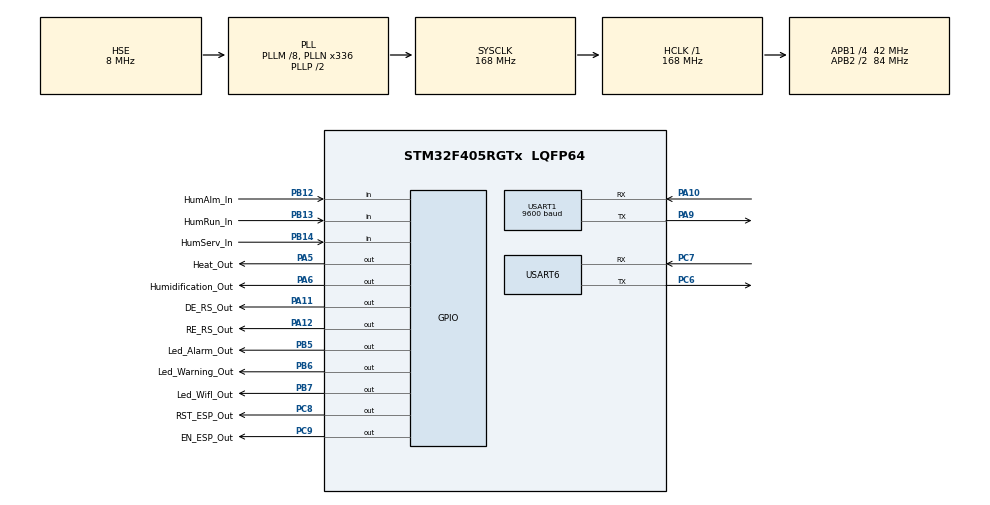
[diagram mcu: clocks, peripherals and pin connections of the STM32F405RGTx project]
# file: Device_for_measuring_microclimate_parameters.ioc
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Dma.Request0=USART6_TX
Dma.USART6_TX.0.Direction=DMA_MEMORY_TO_PERIPH
Dma.USART6_TX.0.FIFOMode=DMA_FIFOMODE_DISABLE
Dma.USART6_TX.0.Instance=DMA2_Stream6
Dma.USART6_TX.0.MemDataAlignment=DMA_MDATAALIGN_BYTE
Dma.USART6_TX.0.MemInc=DMA_MINC_ENABLE
Dma.USART6_TX.0.Mode=DMA_NORMAL
Dma.USART6_TX.0.PeriphDataAlignment=DMA_PDATAALIGN_BYTE
Dma.USART6_TX.0.PeriphInc=DMA_PINC_DISABLE
Dma.USART6_TX.0.Priority=DMA_PRIORITY_LOW
FREERTOS.Tasks01=readRS485,24,128,StartReadRS485,Default,NULL,Dynamic,NULL,NULL;controlPIDTemp,8,128,StartControlPIDTemp,Default,NULL,Dynamic,NULL,NULL;controlPIDHum,8,128,StartControlPIDHum,Default,NULL,Dynamic,NULL,NULL;exchangeATComma,8,128,StartExchangeATCommand,Default,NULL,Dynamic,NULL,NULL;webInterface,8,128,StartWebInterface,Default,NULL,Dynamic,NULL,NULL
FREERTOS.configUSE_NEWLIB_REENTRANT=1
IWDG.Prescaler=IWDG_PRESCALER_32
Mcu.Family=STM32F4
Mcu.Name=STM32F405RGTx
Mcu.Package=LQFP64
NVIC.DMA2_Stream6_IRQn=true\:5\:0\:false\:false\:true\:true\:false\:true\:true
NVIC.PriorityGroup=NVIC_PRIORITYGROUP_4
NVIC.TIM1_UP_TIM10_IRQn=true\:15\:0\:false\:false\:true\:false\:false\:true\:true
NVIC.TimeBase=TIM1_UP_TIM10_IRQn
NVIC.TimeBaseIP=TIM1
PA10.Mode=Asynchronous
PA10.Signal=USART1_RX
PA11.GPIO_Label=DE_RS_Out
PA11.Signal=GPIO_Output
PA12.GPIO_Label=RE_RS_Out
PA12.Signal=GPIO_Output
PA5.GPIO_Label=Heat_Out
PA5.Signal=GPIO_Output
PA6.GPIO_Label=Humidification_Out
PA6.Signal=GPIO_Output
PA9.Mode=Asynchronous
PA9.Signal=USART1_TX
PB12.GPIO_Label=HumAlm_In
PB12.Signal=GPIO_Input
PB13.GPIO_Label=HumRun_In
PB13.Signal=GPIO_Input
PB14.GPIO_Label=HumServ_In
PB14.Signal=GPIO_Input
PB5.GPIO_Label=Led_Alarm_Out
PB5.Signal=GPIO_Output
PB6.GPIO_Label=Led_Warning_Out
PB6.Signal=GPIO_Output
PB7.GPIO_Label=Led_WifI_Out
PB7.Signal=GPIO_Output
PC14-OSC32_IN.Mode=LSE-External-Oscillator
PC14-OSC32_IN.Signal=RCC_OSC32_IN
PC15-OSC32_OUT.Mode=LSE-External-Oscillator
PC15-OSC32_OUT.Signal=RCC_OSC32_OUT
PC6.Mode=Asynchronous
PC6.Signal=USART6_TX
PC7.Mode=Asynchronous
PC7.Signal=USART6_RX
PC8.GPIO_Label=RST_ESP_Out
PC8.PinState=GPIO_PIN_SET
PC8.Signal=GPIO_Output
PC9.GPIO_Label=EN_ESP_Out
PC9.PinState=GPIO_PIN_SET
PC9.Signal=GPIO_Output
PH0-OSC_IN.Mode=HSE-External-Oscillator
PH0-OSC_IN.Signal=RCC_OSC_IN
PH1-OSC_OUT.Mode=HSE-External-Oscillator
PH1-OSC_OUT.Signal=RCC_OSC_OUT
ProjectManager.HeapSize=0x200
ProjectManager.StackSize=0x400
ProjectManager.TargetToolchain=STM32CubeIDE
RCC.48MHZClocksFreq_Value=84000000
RCC.AHBFreq_Value=168000000
RCC.APB1CLKDivider=RCC_HCLK_DIV4
RCC.APB1Freq_Value=42000000
RCC.APB1TimFreq_Value=84000000
RCC.APB2CLKDivider=RCC_HCLK_DIV2
RCC.APB2Freq_Value=84000000
RCC.APB2TimFreq_Value=168000000
RCC.CortexFreq_Value=168000000
RCC.HCLKFreq_Value=168000000
RCC.HSE_VALUE=8000000
RCC.HSI_VALUE=16000000
RCC.PLLM=8
RCC.PLLN=336
RCC.PLLSourceVirtual=RCC_PLLSOURCE_HSE
RCC.RCC_RTC_Clock_Source=RCC_RTCCLKSOURCE_LSE
RCC.RCC_RTC_Clock_SourceVirtual=RCC_RTCCLKSOURCE_LSE
RCC.SYSCLKFreq_VALUE=168000000
RCC.SYSCLKSource=RCC_SYSCLKSOURCE_PLLCLK
RCC.VCOOutputFreq_Value=336000000
USART1.BaudRate=9600
USART1.VirtualMode=VM_ASYNC
USART6.VirtualMode=VM_ASYNC
VP_FREERTOS_VS_CMSIS_V2.Mode=CMSIS_V2
VP_IWDG_VS_IWDG.Mode=IWDG_Activate
VP_RTC_VS_RTC_Activate.Mode=RTC_Enabled
VP_RTC_VS_RTC_Calendar.Mode=RTC_Calendar
VP_SYS_VS_tim1.Mode=TIM1
board=custom

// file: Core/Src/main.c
/* USER CODE BEGIN Header */
/**
  ******************************************************************************
  * @file           : main.c
  * @brief          : Main program body
  ******************************************************************************
  * @attention
  *
  * Copyright (c) 2026 STMicroelectronics.
  * All rights reserved.
  *
  * This software is licensed under terms that can be found in the LICENSE file
  * in the root directory of this software component.
  * If no LICENSE file comes with this software, it is provided AS-IS.
  *
  ******************************************************************************
  */
/* USER CODE END Header */
#include "main.h"
#include "cmsis_os.h"

/* USER CODE BEGIN Includes */
#include "pid.h"  // Для ПИД регуляторов
/* USER CODE END Includes */

/* USER CODE BEGIN PTD */
typedef struct {
    float temperature;
    float humidity;
    uint32_t timestamp;
} SensorData;

typedef struct {
    float temperature_setpoint;
    float humidity_setpoint;
    uint8_t auto_mode;
    uint8_t heating_enabled;
    uint8_t humidification_enabled;
} SystemSettings;

typedef enum {
    HUM_STATUS_OK = 0,
    HUM_STATUS_ALARM,
    HUM_STATUS_RUNNING,
    HUM_STATUS_SERVICE
} HumidifierStatus;
/* USER CODE END PTD */

/* USER CODE BEGIN PD */
#define HISTORY_SIZE 48
#define MODBUS_ADDRESS 0x01
#define MODBUS_READ_HOLDING_REG 0x03
#define TEMP_REG_ADDR 0x0001
#define HUM_REG_ADDR 0x0002
#define MODBUS_CRC16_POLYNOMIAL 0xA001

// Константы точности датчика
#define TEMP_ACCURACY 0.5f
#define HUM_ACCURACY 3.0f

// Диапазоны измерений
#define TEMP_MIN -10.0f
#define TEMP_MAX 60.0f
#define HUM_MIN 0.0f
#define HUM_MAX 100.0f

// ПИД параметры для температуры
#define TEMP_KP 2.0f
#define TEMP_KI 0.05f
#define TEMP_KD 1.0f

// ПИД параметры для влажности
#define HUM_KP 1.5f
#define HUM_KI 0.03f
#define HUM_KD 0.8f

// Гистерезис для релейного управления
#define TEMP_HYSTERESIS 0.5f
#define HUM_HYSTERESIS 2.0f

// Максимальное время ожидания ответа от датчика (мс)
#define RS485_TIMEOUT 100
/* USER CODE END PD */

/* USER CODE BEGIN PM */
#define MIN(a,b) ((a)<(b)?(a):(b))
#define MAX(a,b) ((a)>(b)?(a):(b))
#define CLAMP(x, min, max) ((x) < (min) ? (min) : ((x) > (max) ? (max) : (x)))
/* USER CODE END PM */

IWDG_HandleTypeDef hiwdg;

RTC_HandleTypeDef hrtc;

UART_HandleTypeDef huart1;
UART_HandleTypeDef huart6;
DMA_HandleTypeDef hdma_usart6_tx;

/* Definitions for readRS485 */
osThreadId_t readRS485Handle;
const osThreadAttr_t readRS485_attributes = {
  .name = "readRS485",
  .stack_size = 128 * 4,
  .priority = (osPriority_t) osPriorityNormal,
};
/* Definitions for controlPIDTemp */
osThreadId_t controlPIDTempHandle;
const osThreadAttr_t controlPIDTemp_attributes = {
  .name = "controlPIDTemp",
  .stack_size = 128 * 4,
  .priority = (osPriority_t) osPriorityLow,
};
/* Definitions for controlPIDHum */
osThreadId_t controlPIDHumHandle;
const osThreadAttr_t controlPIDHum_attributes = {
  .name = "controlPIDHum",
  .stack_size = 128 * 4,
  .priority = (osPriority_t) osPriorityLow,
};
/* Definitions for exchangeATComma */
osThreadId_t exchangeATCommaHandle;
const osThreadAttr_t exchangeATComma_attributes = {
  .name = "exchangeATComma",
  .stack_size = 128 * 4,
  .priority = (osPriority_t) osPriorityLow,
};
/* Definitions for webInterface */
osThreadId_t webInterfaceHandle;
const osThreadAttr_t webInterface_attributes = {
  .name = "webInterface",
  .stack_size = 128 * 4,
  .priority = (osPriority_t) osPriorityLow,
};
/* USER CODE BEGIN PV */
// Глобальные переменные системы
SensorData current_sensor_data = {0};
SensorData history_data[HISTORY_SIZE];
uint8_t history_index = 0;
SystemSettings system_settings = {
    .temperature_setpoint = 22.0f,
    .humidity_setpoint = 50.0f,
    .auto_mode = 1,  // Автоматический режим по умолчанию
    .heating_enabled = 0,
    .humidification_enabled = 0
};

// ПИД регуляторы
PID_HandleTypeDef pid_temp;
PID_HandleTypeDef pid_hum;

// Очереди для межпоточного взаимодействия
osMessageQueueId_t sensor_data_queue;
osMessageQueueId_t settings_queue;
osMessageQueueId_t web_command_queue;

// Семафоры и мьютексы
osMutexId_t sensor_data_mutex;
osMutexId_t settings_mutex;
osMutexId_t history_mutex;

// Флаги состояния
volatile uint8_t heating_active = 0;
volatile uint8_t humidification_active = 0;
volatile uint8_t wifi_ap_active = 0;
volatile uint8_t humidifier_alarm = 0;
volatile uint8_t humidifier_running = 0;
volatile uint8_t humidifier_service = 0;

// Буферы для связи
uint8_t rs485_rx_buffer[64];
uint8_t rs485_tx_buffer[64];
uint8_t esp_rx_buffer[256];
uint8_t esp_tx_buffer[512];
uint8_t modbus_frame[8];

// HTML страница веб-интерфейса
const char* html_page =
"<!DOCTYPE html>"
"<html lang=\"ru\">"
"<head>"
"<meta charset=\"UTF-8\">"
"<meta name=\"viewport\" content=\"width=device-width, initial-scale=1.0, maximum-scale=1.0, user-scalable=no\">"
"<title>Управление микроклиматом</title>"
"<style>"
"* { margin: 0; padding: 0; box-sizing: border-box; font-family: 'Segoe UI', Tahoma, Geneva, Verdana, sans-serif; }"
"body { background: linear-gradient(135deg, #1a2980, #26d0ce); color: #fff; min-height: 100vh; padding-bottom: 20px; }"
".container { max-width: 500px; margin: 0 auto; padding: 15px; }"
".navbar { display: flex; justify-content: space-between; margin-bottom: 20px; flex-wrap: wrap; }"
".nav-button { background-color: #0d1b48; color: white; border: none; width: 23%; height: 80px; margin-bottom: 10px; border-radius: 10px; display: flex; flex-direction: column; align-items: center; justify-content: center; font-weight: bold; cursor: pointer; transition: all 0.3s ease; box-shadow: 0 4px 6px rgba(0, 0, 0, 0.2); text-shadow: 1px 1px 2px rgba(0, 0, 0, 0.8); -webkit-text-stroke: 0.3px #000; }"
".nav-button:hover { background-color: #1a2e6b; transform: translateY(-2px); }"
".nav-button.active { background-color: #2d46b9; box-shadow: 0 0 15px rgba(45, 70, 185, 0.7); }"
".nav-icon { font-size: 20px; margin-bottom: 5px; }"
".page { display: none; background-color: rgba(255, 255, 255, 0.1); backdrop-filter: blur(10px); border-radius: 15px; padding: 20px; box-shadow: 0 8px 32px rgba(0, 0, 0, 0.2); border: 1px solid rgba(255, 255, 255, 0.1); }"
".page.active { display: block; }"
".page-title { text-align: center; margin-bottom: 20px; font-size: 24px; color: #fff; text-shadow: 2px 2px 4px rgba(0, 0, 0, 0.5); }"
".sensor-data { display: flex; justify-content: space-between; margin-bottom: 30px; }"
".sensor-box { background: linear-gradient(145deg, rgba(255, 255, 255, 0.15), rgba(255, 255, 255, 0.05)); border-radius: 15px; padding: 20px; width: 48%; text-align: center; box-shadow: 0 4px 15px rgba(0, 0, 0, 0.2); }"
".sensor-value { font-size: 36px; font-weight: bold; margin: 10px 0; }"
".temperature { color: #ff9966; }"
".humidity { color: #66ccff; }"
".unit { font-size: 18px; opacity: 0.8; }"
".control-section { margin-top: 20px; }"
".control-buttons { display: flex; justify-content: space-between; margin-bottom: 20px; }"
".control-button { background-color: #2e7d32; color: white; border: none; border-radius: 10px; padding: 15px; width: 48%; font-size: 16px; font-weight: bold; cursor: pointer; transition: all 0.3s ease; box-shadow: 0 4px 6px rgba(0, 0, 0, 0.2); }"
".control-button:hover { background-color: #3d8b40; transform: translateY(-2px); }"
".control-button.off { background-color: #c62828; }"
".control-button.off:hover { background-color: #d32f2f; }"
".indicators { display: flex; justify-content: space-between; }"
".indicator { background-color: rgba(0, 0, 0, 0.3); border-radius: 10px; padding: 15px; width: 48%; text-align: center; font-weight: bold; display: flex; flex-direction: column; align-items: center; }"
".indicator-light { width: 20px; height: 20px; border-radius: 50%; background-color: #555; margin-top: 10px; transition: all 0.3s ease; }"
".indicator-light.on { background-color: #4caf50; box-shadow: 0 0 15px #4caf50; }"
".history-table-container { overflow-x: auto; max-height: 400px; }"
".history-table { width: 100%; border-collapse: collapse; }"
".history-table th, .history-table td { padding: 12px 15px; text-align: center; border-bottom: 1px solid rgba(255, 255, 255, 0.1); }"
".history-table th { background-color: rgba(0, 0, 0, 0.3); position: sticky; top: 0; }"
".history-table tr:hover { background-color: rgba(255, 255, 255, 0.05); }"
".settings-option { background-color: rgba(255, 255, 255, 0.1); border-radius: 10px; padding: 20px; margin-bottom: 20px; }"
".settings-title { font-size: 18px; margin-bottom: 15px; display: flex; align-items: center; }"
".slider-container { display: flex; align-items: center; justify-content: space-between; margin-bottom: 15px; }"
".slider-label { font-weight: bold; }"
".switch { position: relative; display: inline-block; width: 60px; height: 34px; }"
".switch input { opacity: 0; width: 0; height: 0; }"
".slider { position: absolute; cursor: pointer; top: 0; left: 0; right: 0; bottom: 0; background-color: #ccc; transition: .4s; border-radius: 34px; }"
".slider:before { position: absolute; content: \"\"; height: 26px; width: 26px; left: 4px; bottom: 4px; background-color: white; transition: .4s; border-radius: 50%; }"
"input:checked + .slider { background-color: #2196F3; }"
"input:checked + .slider:before { transform: translateX(26px); }"
".setpoint-container { background-color: rgba(255, 255, 255, 0.1); border-radius: 10px; padding: 20px; margin-bottom: 20px; opacity: 0.5; transition: all 0.3s ease; }"
".setpoint-container.active { opacity: 1; }"
".setpoint-container.disabled { pointer-events: none; }"
".setpoint-row { display: flex; justify-content: space-between; align-items: center; margin-bottom: 15px; }"
".setpoint-label { font-weight: bold; width: 45%; }"
".setpoint-value { font-size: 20px; font-weight: bold; color: #ff9966; width: 25%; text-align: center; }"
".setpoint-controls { display: flex; align-items: center; width: 30%; }"
".setpoint-button { background-color: rgba(255, 255, 255, 0.2); color: white; border: none; border-radius: 50%; width: 30px; height: 30px; font-size: 18px; cursor: pointer; display: flex; align-items: center; justify-content: center; transition: all 0.2s ease; }"
".setpoint-button:hover { background-color: rgba(255, 255, 255, 0.3); }"
".setpoint-button:disabled { opacity: 0.3; cursor: not-allowed; }"
".setpoint-input { margin: 0 10px; font-size: 16px; text-align: center; min-width: 50px; }"
".range-indicator { display: flex; justify-content: space-between; font-size: 12px; opacity: 0.7; margin-top: 5px; }"
".time-setter { display: flex; flex-wrap: wrap; gap: 10px; }"
".time-input { background-color: rgba(255, 255, 255, 0.2); border: 1px solid rgba(255, 255, 255, 0.3); border-radius: 5px; color: white; padding: 10px; width: calc(50% - 5px); font-size: 16px; }"
".time-input::placeholder { color: rgba(255, 255, 255, 0.7); }"
".save-button { background-color: #2196F3; color: white; border: none; border-radius: 5px; padding: 12px; width: 100%; font-size: 16px; font-weight: bold; cursor: pointer; margin-top: 10px; transition: all 0.3s ease; }"
".save-button:hover { background-color: #0b7dda; }"
".info-list { list-style-type: none; }"
".info-item { background-color: rgba(255, 255, 255, 0.1); border-radius: 10px; padding: 15px; margin-bottom: 15px; display: flex; justify-content: space-between; align-items: center; }"
".info-label { font-weight: bold; color: #a5d6ff; }"
".info-value { text-align: right; max-width: 60%; }"
".footer { text-align: center; margin-top: 20px; font-size: 14px; opacity: 0.7; }"
"@media (max-width: 400px) {"
".nav-button { width: 48%; margin-bottom: 10px; }"
".sensor-box { width: 100%; margin-bottom: 15px; }"
".sensor-data { flex-direction: column; }"
".control-button { width: 100%; margin-bottom: 10px; }"
".control-buttons { flex-direction: column; }"
".setpoint-row { flex-direction: column; align-items: flex-start; }"
".setpoint-label, .setpoint-value, .setpoint-controls { width: 100%; margin-bottom: 10px; }"
"}"
"</style>"
"</head>"
"<body>"
"<div class=\"container\">"
"<div class=\"navbar\">"
"<button class=\"nav-button active\" data-page=\"home\"><div class=\"nav-icon\">🏠</div><div>Дом</div></button>"
"<button class=\"nav-button\" data-page=\"history\"><div class=\"nav-icon\">📊</div><div>История</div></button>"
"<button class=\"nav-button\" data-page=\"settings\"><div class=\"nav-icon\">⚙️</div><div>Настройки</div></button>"
"<button class=\"nav-button\" data-page=\"info\"><div class=\"nav-icon\">ℹ️</div><div>Сведения</div></button>"
"</div>"
"<div id=\"home\" class=\"page active\">"
"<h2 class=\"page-title\">Текущие показатели</h2>"
"<div class=\"sensor-data\">"
"<div class=\"sensor-box\"><div>Температура</div><div class=\"sensor-value temperature\" id=\"temperature-value\">%.1f<span class=\"unit\">°C</span></div><div>Диапазон: -10°C ... +60°C</div><div style=\"margin-top: 10px; font-size: 14px; color: #ffcc80;\">Уставка: <span id=\"current-heat-setpoint\">%.1f</span>°C</div></div>"
"<div class=\"sensor-box\"><div>Влажность</div><div class=\"sensor-value humidity\" id=\"humidity-value\">%.1f<span class=\"unit\">%%</span></div><div>Диапазон: 0%% ... 100%%</div><div style=\"margin-top: 10px; font-size: 14px; color: #80deea;\">Уставка: <span id=\"current-hum-setpoint\">%.1f</span>%%</div></div>"
"</div>"
"<div class=\"control-section\">"
"<div class=\"control-buttons\">"
"<button class=\"control-button\" id=\"heating-toggle\">%s</button>"
"<button class=\"control-button\" id=\"humidification-toggle\">%s</button>"
"</div>"
"<div class=\"indicators\">"
"<div class=\"indicator\"><div>Обогревается</div><div class=\"indicator-light\" id=\"heating-indicator\"></div></div>"
"<div class=\"indicator\"><div>Увлажняется</div><div class=\"indicator-light\" id=\"humidification-indicator\"></div></div>"
"</div>"
"<div style=\"margin-top: 20px; text-align: center; padding: 10px; background-color: rgba(0, 0, 0, 0.2); border-radius: 10px;\">"
"<div id=\"mode-status\">Режим: <span style=\"font-weight: bold; color: %s;\">%s</span></div>"
"</div>"
"</div>"
"</div>"
"<div id=\"history\" class=\"page\">"
"<h2 class=\"page-title\">История за сутки</h2>"
"<p style=\"text-align: center; margin-bottom: 15px; opacity: 0.8;\">Данные обновляются каждые 30 минут</p>"
"<div class=\"history-table-container\">"
"<table class=\"history-table\"><thead><tr><th>Дата и время</th><th>Температура</th><th>Влажность</th></tr></thead><tbody id=\"history-table-body\">%s</tbody></table>"
"</div>"
"</div>"
"<div id=\"settings\" class=\"page\">"
"<h2 class=\"page-title\">Настройки системы</h2>"
"<div class=\"settings-option\"><div class=\"settings-title\"><div>Режим работы</div></div>"
"<div class=\"slider-container\"><div class=\"slider-label\">Ручной режим</div><label class=\"switch\"><input type=\"checkbox\" id=\"mode-switch\" %s><span class=\"slider\"></span></label><div class=\"slider-label\">Автоматический</div></div>"
"<p style=\"margin-top: 10px; font-size: 14px; opacity: 0.8;\">В автоматическом режиме система управляет обогревом и увлажнением самостоятельно для поддержания заданных параметров.</p></div>"
"<div class=\"setpoint-container %s\" id=\"heat-setpoint-container\"><div class=\"settings-title\"><div>Уставка обогревателя</div></div>"
"<div class=\"setpoint-row\"><div class=\"setpoint-label\">Температура:</div><div class=\"setpoint-value\" id=\"heat-setpoint-value\">%.1f°C</div>"
"<div class=\"setpoint-controls\"><button class=\"setpoint-button\" id=\"heat-decrease\">-</button><div class=\"setpoint-input\" id=\"heat-setpoint-input\">%.1f</div><button class=\"setpoint-button\" id=\"heat-increase\">+</button></div></div>"
"<div class=\"range-indicator\"><span>Минимум: -10°C</span><span>Максимум: +60°C</span></div>"
"<div style=\"margin-top: 15px; font-size: 14px; opacity: 0.8;\">При снижении температуры ниже уставки будет включаться обогрев.</div></div>"
"<div class=\"setpoint-container %s\" id=\"hum-setpoint-container\"><div class=\"settings-title\"><div>Уставка увлажнителя</div></div>"
"<div class=\"setpoint-row\"><div class=\"setpoint-label\">Влажность:</div><div class=\"setpoint-value\" id=\"hum-setpoint-value\">%.1f%%</div>"
"<div class=\"setpoint-controls\"><button class=\"setpoint-button\" id=\"hum-decrease\">-</button><div class=\"setpoint-input\" id=\"hum-setpoint-input\">%.1f</div><button class=\"setpoint-button\" id=\"hum-increase\">+</button></div></div>"
"<div class=\"range-indicator\"><span>Минимум: 0%%</span><span>Максимум: 100%%</span></div>"
"<div style=\"margin-top: 15px; font-size: 14px; opacity: 0.8;\">При снижении влажности ниже уставки будет включаться увлажнитель.</div></div>"
"<div class=\"settings-option\"><div class=\"settings-title\"><div>Установка времени и даты</div></div>"
"<div class=\"time-setter\"><input type=\"date\" class=\"time-input\" id=\"date-input\" value=\"%s\"><input type=\"time\" class=\"time-input\" id=\"time-input\" value=\"%s\"><button class=\"save-button\" id=\"save-time\">Сохранить время</button></div></div>"
"<button class=\"save-button\" id=\"save-settings\" style=\"background-color: #4caf50;\">Сохранить все настройки</button></div>"
"<div id=\"info\" class=\"page\">"
"<h2 class=\"page-title\">Сведения об устройстве</h2>"
"<ul class=\"info-list\">"
"<li class=\"info-item\"><span class=\"info-label\">Название устройства:</span><span class=\"info-value\">Устройство управления микроклиматом</span></li>"
"<li class=\"info-item\"><span class=\"info-label\">Дата изготовления:</span><span class=\"info-value\">27 февраля 2026 г.</span></li>"
"<li class=\"info-item\"><span class=\"info-label\">Номер прошивки:</span><span class=\"info-value\">0001</span></li>"
"<li class=\"info-item\"><span class=\"info-label\">Учебное заведение:</span><span class=\"info-value\">СФ МЭИ</span></li>"
"<li class=\"info-item\"><span class=\"info-label\">Номер группы:</span><span class=\"info-value\">ПЭ-25з(Маг)</span></li>"
"<li class=\"info-item\"><span class=\"info-label\">Автор:</span><span class=\"info-value\">Чепурин Владислав</span></li>"
"</ul></div>"
"<div class=\"footer\">Устройство управления микроклиматом v1.0 | Связь: %s</div>"
"</div>"
"<script>"
"document.querySelectorAll('.nav-button').forEach(button => {"
"button.addEventListener('click', function() {"
"document.querySelectorAll('.nav-button').forEach(btn => btn.classList.remove('active'));"
"this.classList.add('active');"
"document.querySelectorAll('.page').forEach(page => page.classList.remove('active'));"
"document.getElementById(this.getAttribute('data-page')).classList.add('active');"
"});});"
"const heatingToggle = document.getElementById('heating-toggle');"
"const heatingIndicator = document.getElementById('heating-indicator');"
"const humidificationToggle = document.getElementById('humidification-toggle');"
"const humidificationIndicator = document.getElementById('humidification-indicator');"
"const modeSwitch = document.getElementById('mode-switch');"
"const heatSetpointValue = document.getElementById('heat-setpoint-value');"
"const heatSetpointInput = document.getElementById('heat-setpoint-input');"
"const heatDecreaseBtn = document.getElementById('heat-decrease');"
"const heatIncreaseBtn = document.getElementById('heat-increase');"
"const humSetpointValue = document.getElementById('hum-setpoint-value');"
"const humSetpointInput = document.getElementById('hum-setpoint-input');"
"const humDecreaseBtn = document.getElementById('hum-decrease');"
"const humIncreaseBtn = document.getElementById('hum-increase');"
"const saveTimeBtn = document.getElementById('save-time');"
"const saveSettingsBtn = document.getElementById('save-settings');"
"let heatSetpoint = %.1f;"
"let humSetpoint = %.1f;"
"let heatingOn = %s;"
"let humidificationOn = %s;"
"let autoMode = %s;"
"heatingToggle.addEventListener('click', function() {"
"heatingOn = !heatingOn;"
"fetch('/control?heating=' + (heatingOn ? '1' : '0'));"
"this.textContent = heatingOn ? 'Выключить обогрев' : 'Включить обогрев';"
"this.classList.toggle('off', !heatingOn);"
"heatingIndicator.classList.toggle('on', heatingOn);"
"});"
"humidificationToggle.addEventListener('click', function() {"
"humidificationOn = !humidificationOn;"
"fetch('/control?humidification=' + (humidificationOn ? '1' : '0'));"
"this.textContent = humidificationOn ? 'Выключить увлажнение' : 'Включить увлажнение';"
"this.classList.toggle('off', !humidificationOn);"
"humidificationIndicator.classList.toggle('on', humidificationOn);"
"});"
"modeSwitch.addEventListener('change', function() {"
"autoMode = this.checked;"
"fetch('/control?mode=' + (autoMode ? '1' : '0'));"
"document.getElementById('heat-setpoint-container').classList.toggle('active', autoMode);"
"document.getElementById('hum-setpoint-container').classList.toggle('active', autoMode);"
"heatingToggle.disabled = autoMode;"
"humidificationToggle.disabled = autoMode;"
"});"
"heatDecreaseBtn.addEventListener('click', function() { if(heatSetpoint > -10) { heatSetpoint -= 0.5; updateHeatSetpoint(); } });"
"heatIncreaseBtn.addEventListener('click', function() { if(heatSetpoint < 60) { heatSetpoint += 0.5; updateHeatSetpoint(); } });"
"humDecreaseBtn.addEventListener('click', function() { if(humSetpoint > 0) { humSetpoint -= 1.0; updateHumSetpoint(); } });"
"humIncreaseBtn.addEventListener('click', function() { if(humSetpoint < 100) { humSetpoint += 1.0; updateHumSetpoint(); } });"
"function updateHeatSetpoint() {"
"heatSetpointValue.textContent = heatSetpoint.toFixed(1) + '°C';"
"heatSetpointInput.textContent = heatSetpoint.toFixed(1);"
"document.getElementById('current-heat-setpoint').textContent = heatSetpoint.toFixed(1);"
"fetch('/settings?heat_setpoint=' + heatSetpoint.toFixed(1));"
"}"
"function updateHumSetpoint() {"
"humSetpointValue.textContent = humSetpoint.toFixed(1) + '%%';"
"humSetpointInput.textContent = humSetpoint.toFixed(1);"
"document.getElementById('current-hum-setpoint').textContent = humSetpoint.toFixed(1);"
"fetch('/settings?hum_setpoint=' + humSetpoint.toFixed(1));"
"}"
"saveTimeBtn.addEventListener('click', function() {"
"const date = document.getElementById('date-input').value;"
"const time = document.getElementById('time-input').value;"
"fetch('/settings?date=' + date + '&time=' + time);"
"alert('Время установлено');"
"});"
"saveSettingsBtn.addEventListener('click', function() {"
"fetch('/settings?save_all=1');"
"alert('Настройки сохранены');"
"});"
"setInterval(function() {"
"fetch('/data')"
".then(response => response.json())"
".then(data => {"
"document.getElementById('temperature-value').innerHTML = data.temp.toFixed(1) + '<span class=\"unit\">°C</span>';"
"document.getElementById('humidity-value').innerHTML = data.hum.toFixed(1) + '<span class=\"unit\">%%</span>';"
"if(autoMode) {"
"heatingIndicator.classList.toggle('on', data.heating_active);"
"humidificationIndicator.classList.toggle('on', data.humidification_active);"
"}"
"});"
"}, 3000);"
"</script>"
"</body>"
"</html>";

// JSON для API
const char* json_data_template =
"{\"temp\":%.1f,\"hum\":%.1f,\"heating_active\":%d,\"humidification_active\":%d,"
"\"heat_setpoint\":%.1f,\"hum_setpoint\":%.1f,\"auto_mode\":%d,"
"\"wifi\":%d,\"humidifier_alarm\":%d,\"humidifier_running\":%d,\"humidifier_service\":%d}";
/* USER CODE END PV */

void SystemClock_Config(void);
static void MX_GPIO_Init(void);
static void MX_DMA_Init(void);
static void MX_USART1_UART_Init(void);
static void MX_USART6_UART_Init(void);
static void MX_IWDG_Init(void);
static void MX_RTC_Init(void);
void StartReadRS485(void *argument);
void StartControlPIDTemp(void *argument);
void StartControlPIDHum(void *argument);
void StartExchangeATCommand(void *argument);
void StartWebInterface(void *argument);

/* USER CODE BEGIN PFP */
// Вспомогательные функции
static void RS485_EnableTX(void);
static void RS485_EnableRX(void);
static uint16_t Modbus_CRC16(uint8_t *data, uint16_t length);
static void Send_Modbus_Request(uint8_t slave_addr, uint8_t function_code, uint16_t reg_addr, uint16_t reg_count);
static uint8_t Parse_Modbus_Response(uint8_t *response, uint16_t *temperature, uint16_t *humidity);
static void Update_History(SensorData data);
static void Update_LEDs(void);
static void Control_Heating(float current_temp, float setpoint);
static void Control_Humidification(float current_hum, float setpoint);
static void Process_Web_Command(char *command);
static void Send_AT_Command(const char *cmd);
static uint8_t Wait_AT_Response(const char *expected, uint32_t timeout);
static void ESP_Init(void);
static void Generate_HTML_Page(char *buffer, uint32_t size);
static void Check_WiFi_Status(void);
static void Generate_JSON_Data(char *buffer, uint32_t size);
static void Generate_History_HTML(char *buffer, uint32_t size);
/* USER CODE END PFP */

int main(void)
{

  /* MCU Configuration--------------------------------------------------------*/

  /* Reset of all peripherals, Initializes the Flash interface and the Systick. */
  HAL_Init();

  /* Configure the system clock */
  SystemClock_Config();

  /* Initialize all configured peripherals */
  MX_GPIO_Init();
  MX_DMA_Init();
  MX_USART1_UART_Init();
  MX_USART6_UART_Init();
  MX_IWDG_Init();
  MX_RTC_Init();
  /* USER CODE BEGIN 2 */
  // Инициализация ПИД регуляторов
  PID_Init(&pid_temp, TEMP_KP, TEMP_KI, TEMP_KD);
  PID_Init(&pid_hum, HUM_KP, HUM_KI, HUM_KD);

  // Установка пределов ПИД регуляторов
  PID_SetOutputLimits(&pid_temp, 0.0f, 1.0f);
  PID_SetOutputLimits(&pid_hum, 0.0f, 1.0f);

  // Инициализация истории
  memset(history_data, 0, sizeof(history_data));

  // Включаем ESP модуль
  HAL_GPIO_WritePin(EN_ESP_Out_GPIO_Port, EN_ESP_Out_Pin, GPIO_PIN_SET);
  HAL_GPIO_WritePin(RST_ESP_Out_GPIO_Port, RST_ESP_Out_Pin, GPIO_PIN_SET);

  // Изначально отключаем реле
  HAL_GPIO_WritePin(Heat_Out_GPIO_Port, Heat_Out_Pin, GPIO_PIN_RESET);
  HAL_GPIO_WritePin(Humidification_Out_GPIO_Port, Humidification_Out_Pin, GPIO_PIN_RESET);

  // Настраиваем RS485 в режим приема
  RS485_EnableRX();
  /* USER CODE END 2 */

  /* Init scheduler */
  osKernelInitialize();

  /* USER CODE BEGIN RTOS_MUTEX */
  // Создание мьютексов
  const osMutexAttr_t mutex_attributes = {
    .name = "SensorDataMutex",
    .attr_bits = osMutexRecursive
  };
  sensor_data_mutex = osMutexNew(&mutex_attributes);

  const osMutexAttr_t settings_mutex_attr = {
    .name = "SettingsMutex",
    .attr_bits = osMutexRecursive
  };
  settings_mutex = osMutexNew(&settings_mutex_attr);

  const osMutexAttr_t history_mutex_attr = {
    .name = "HistoryMutex",
    .attr_bits = osMutexRecursive
  };
  history_mutex = osMutexNew(&history_mutex_attr);
  /* USER CODE END RTOS_MUTEX */

  /* USER CODE BEGIN RTOS_QUEUES */
  // Создание очередей
  sensor_data_queue = osMessageQueueNew(10, sizeof(SensorData), NULL);
  settings_queue = osMessageQueueNew(10, sizeof(SystemSettings), NULL);
  web_command_queue = osMessageQueueNew(20, 64, NULL);
  /* USER CODE END RTOS_QUEUES */

  /* Create the thread(s) */
  /* creation of readRS485 */
  readRS485Handle = osThreadNew(StartReadRS485, NULL, &readRS485_attributes);

  /* creation of controlPIDTemp */
  controlPIDTempHandle = osThreadNew(StartControlPIDTemp, NULL, &controlPIDTemp_attributes);

  /* creation of controlPIDHum */
  controlPIDHumHandle = osThreadNew(StartControlPIDHum, NULL, &controlPIDHum_attributes);

  /* creation of exchangeATComma */
  exchangeATCommaHandle = osThreadNew(StartExchangeATCommand, NULL, &exchangeATComma_attributes);

  /* creation of webInterface */
  webInterfaceHandle = osThreadNew(StartWebInterface, NULL, &webInterface_attributes);

  /* Start scheduler */
  osKernelStart();

  /* We should never get here as control is now taken by the scheduler */

  /* Infinite loop */
  /* USER CODE BEGIN WHILE */
  while (1)
  {
    // Сброс сторожего таймера
    HAL_IWDG_Refresh(&hiwdg);
    osDelay(100);
    /* USER CODE END WHILE */

  }
}

void SystemClock_Config(void)
{
  RCC_OscInitTypeDef RCC_OscInitStruct = {0};
  RCC_ClkInitTypeDef RCC_ClkInitStruct = {0};

  /** Configure the main internal regulator output voltage
  */
  __HAL_RCC_PWR_CLK_ENABLE();
  __HAL_PWR_VOLTAGESCALING_CONFIG(PWR_REGULATOR_VOLTAGE_SCALE1);

  /** Initializes the RCC Oscillators according to the specified parameters
  * in the RCC_OscInitTypeDef structure.
  */
  RCC_OscInitStruct.OscillatorType = RCC_OSCILLATORTYPE_LSI|RCC_OSCILLATORTYPE_HSE
                              |RCC_OSCILLATORTYPE_LSE;
  RCC_OscInitStruct.HSEState = RCC_HSE_ON;
  RCC_OscInitStruct.LSEState = RCC_LSE_ON;
  RCC_OscInitStruct.LSIState = RCC_LSI_ON;
  RCC_OscInitStruct.PLL.PLLState = RCC_PLL_ON;
  RCC_OscInitStruct.PLL.PLLSource = RCC_PLLSOURCE_HSE;
  RCC_OscInitStruct.PLL.PLLM = 8;
  RCC_OscInitStruct.PLL.PLLN = 336;
  RCC_OscInitStruct.PLL.PLLP = RCC_PLLP_DIV2;
  RCC_OscInitStruct.PLL.PLLQ = 4;
  if (HAL_RCC_OscConfig(&RCC_OscInitStruct) != HAL_OK)
  {
    Error_Handler();
  }

  /** Initializes the CPU, AHB and APB buses clocks
  */
  RCC_ClkInitStruct.ClockType = RCC_CLOCKTYPE_HCLK|RCC_CLOCKTYPE_SYSCLK
                              |RCC_CLOCKTYPE_PCLK1|RCC_CLOCKTYPE_PCLK2;
  RCC_ClkInitStruct.SYSCLKSource = RCC_SYSCLKSOURCE_PLLCLK;
  RCC_ClkInitStruct.AHBCLKDivider = RCC_SYSCLK_DIV1;
  RCC_ClkInitStruct.APB1CLKDivider = RCC_HCLK_DIV4;
  RCC_ClkInitStruct.APB2CLKDivider = RCC_HCLK_DIV2;

  if (HAL_RCC_ClockConfig(&RCC_ClkInitStruct, FLASH_LATENCY_5) != HAL_OK)
  {
    Error_Handler();
  }
}

static void MX_IWDG_Init(void)
{

  hiwdg.Instance = IWDG;
  hiwdg.Init.Prescaler = IWDG_PRESCALER_32;
  hiwdg.Init.Reload = 4095;
  if (HAL_IWDG_Init(&hiwdg) != HAL_OK)
  {
    Error_Handler();
  }

}

static void MX_RTC_Init(void)
{

  RTC_TimeTypeDef sTime = {0};
  RTC_DateTypeDef sDate = {0};

  /** Initialize RTC Only
  */
  hrtc.Instance = RTC;
  hrtc.Init.HourFormat = RTC_HOURFORMAT_24;
  hrtc.Init.AsynchPrediv = 127;
  hrtc.Init.SynchPrediv = 255;
  hrtc.Init.OutPut = RTC_OUTPUT_DISABLE;
  hrtc.Init.OutPutPolarity = RTC_OUTPUT_POLARITY_HIGH;
  hrtc.Init.OutPutType = RTC_OUTPUT_TYPE_OPENDRAIN;
  if (HAL_RTC_Init(&hrtc) != HAL_OK)
  {
    Error_Handler();
  }

  /** Initialize RTC and set the Time and Date
  */
  sTime.Hours = 0x0;
  sTime.Minutes = 0x0;
  sTime.Seconds = 0x0;
  sTime.DayLightSaving = RTC_DAYLIGHTSAVING_NONE;
  sTime.StoreOperation = RTC_STOREOPERATION_RESET;
  if (HAL_RTC_SetTime(&hrtc, &sTime, RTC_FORMAT_BCD) != HAL_OK)
  {
    Error_Handler();
  }
  sDate.WeekDay = RTC_WEEKDAY_MONDAY;
  sDate.Month = RTC_MONTH_JANUARY;
  sDate.Date = 0x1;
  sDate.Year = 0x0;

  if (HAL_RTC_SetDate(&hrtc, &sDate, RTC_FORMAT_BCD) != HAL_OK)
  {
    Error_Handler();
  }

}

static void MX_USART1_UART_Init(void)
{

  huart1.Instance = USART1;
  huart1.Init.BaudRate = 9600;
  huart1.Init.WordLength = UART_WORDLENGTH_8B;
  huart1.Init.StopBits = UART_STOPBITS_1;
  huart1.Init.Parity = UART_PARITY_NONE;
  huart1.Init.Mode = UART_MODE_TX_RX;
  huart1.Init.HwFlowCtl = UART_HWCONTROL_NONE;
  huart1.Init.OverSampling = UART_OVERSAMPLING_16;
  if (HAL_UART_Init(&huart1) != HAL_OK)
  {
    Error_Handler();
  }

}

static void MX_USART6_UART_Init(void)
{

  huart6.Instance = USART6;
  huart6.Init.BaudRate = 115200;
  huart6.Init.WordLength = UART_WORDLENGTH_8B;
  huart6.Init.StopBits = UART_STOPBITS_1;
  huart6.Init.Parity = UART_PARITY_NONE;
  huart6.Init.Mode = UART_MODE_TX_RX;
  huart6.Init.HwFlowCtl = UART_HWCONTROL_NONE;
  huart6.Init.OverSampling = UART_OVERSAMPLING_16;
  if (HAL_UART_Init(&huart6) != HAL_OK)
  {
    Error_Handler();
  }

}

static void MX_DMA_Init(void)
{

  /* DMA controller clock enable */
  __HAL_RCC_DMA2_CLK_ENABLE();

  /* DMA interrupt init */
  /* DMA2_Stream6_IRQn interrupt configuration */
  HAL_NVIC_SetPriority(DMA2_Stream6_IRQn, 5, 0);
  HAL_NVIC_EnableIRQ(DMA2_Stream6_IRQn);

}

static void MX_GPIO_Init(void)
{
  GPIO_InitTypeDef GPIO_InitStruct = {0};

  /* GPIO Ports Clock Enable */
  __HAL_RCC_GPIOC_CLK_ENABLE();
  __HAL_RCC_GPIOH_CLK_ENABLE();
  __HAL_RCC_GPIOA_CLK_ENABLE();
  __HAL_RCC_GPIOB_CLK_ENABLE();

  /*Configure GPIO pin Output Level */
  HAL_GPIO_WritePin(GPIOA, Heat_Out_Pin|Humidification_Out_Pin|DE_RS_Out_Pin|RE_RS_Out_Pin, GPIO_PIN_RESET);

  /*Configure GPIO pin Output Level */
  HAL_GPIO_WritePin(GPIOC, RST_ESP_Out_Pin|EN_ESP_Out_Pin, GPIO_PIN_SET);

  /*Configure GPIO pin Output Level */
  HAL_GPIO_WritePin(GPIOB, Led_Alarm_Out_Pin|Led_Warning_Out_Pin|Led_WifI_Out_Pin, GPIO_PIN_RESET);

  /*Configure GPIO pins : Heat_Out_Pin Humidification_Out_Pin DE_RS_Out_Pin RE_RS_Out_Pin */
  GPIO_InitStruct.Pin = Heat_Out_Pin|Humidification_Out_Pin|DE_RS_Out_Pin|RE_RS_Out_Pin;
  GPIO_InitStruct.Mode = GPIO_MODE_OUTPUT_PP;
  GPIO_InitStruct.Pull = GPIO_NOPULL;
  GPIO_InitStruct.Speed = GPIO_SPEED_FREQ_LOW;
  HAL_GPIO_Init(GPIOA, &GPIO_InitStruct);

  /*Configure GPIO pins : HumAlm_In_Pin HumRun_In_Pin HumServ_In_Pin */
  GPIO_InitStruct.Pin = HumAlm_In_Pin|HumRun_In_Pin|HumServ_In_Pin;
  GPIO_InitStruct.Mode = GPIO_MODE_INPUT;
  GPIO_InitStruct.Pull = GPIO_NOPULL;
  HAL_GPIO_Init(GPIOB, &GPIO_InitStruct);

  /*Configure GPIO pins : RST_ESP_Out_Pin EN_ESP_Out_Pin */
  GPIO_InitStruct.Pin = RST_ESP_Out_Pin|EN_ESP_Out_Pin;
  GPIO_InitStruct.Mode = GPIO_MODE_OUTPUT_PP;
  GPIO_InitStruct.Pull = GPIO_NOPULL;
  GPIO_InitStruct.Speed = GPIO_SPEED_FREQ_LOW;
  HAL_GPIO_Init(GPIOC, &GPIO_InitStruct);

  /*Configure GPIO pins : Led_Alarm_Out_Pin Led_Warning_Out_Pin Led_WifI_Out_Pin */
  GPIO_InitStruct.Pin = Led_Alarm_Out_Pin|Led_Warning_Out_Pin|Led_WifI_Out_Pin;
  GPIO_InitStruct.Mode = GPIO_MODE_OUTPUT_PP;
  GPIO_InitStruct.Pull = GPIO_NOPULL;
  GPIO_InitStruct.Speed = GPIO_SPEED_FREQ_LOW;
  HAL_GPIO_Init(GPIOB, &GPIO_InitStruct);

}

/* USER CODE BEGIN 4 */
/**
  * @brief Поток чтения данных с RS485 датчика
  */
void StartReadRS485(void *argument)
{
  uint32_t last_save_time = 0;
  SensorData sensor_data;

  for(;;)
  {
    // Отправка запроса на чтение температуры
    Send_Modbus_Request(MODBUS_ADDRESS, MODBUS_READ_HOLDING_REG,
                       TEMP_REG_ADDR, 1);
    RS485_EnableTX();
    HAL_UART_Transmit(&huart1, modbus_frame, 8, RS485_TIMEOUT);
    RS485_EnableRX();

    // Ожидание ответа
    if(HAL_UART_Receive(&huart1, rs485_rx_buffer, 7, RS485_TIMEOUT) == HAL_OK)
    {
      uint16_t temp_raw;
      if(Parse_Modbus_Response(rs485_rx_buffer, &temp_raw, NULL))
      {
        sensor_data.temperature = temp_raw / 10.0f; // Датчик возвращает значение * 10
      }
    }

    osDelay(10);

    // Отправка запроса на чтение влажности
    Send_Modbus_Request(MODBUS_ADDRESS, MODBUS_READ_HOLDING_REG,
                       HUM_REG_ADDR, 1);
    RS485_EnableTX();
    HAL_UART_Transmit(&huart1, modbus_frame, 8, RS485_TIMEOUT);
    RS485_EnableRX();

    // Ожидание ответа
    if(HAL_UART_Receive(&huart1, rs485_rx_buffer, 7, RS485_TIMEOUT) == HAL_OK)
    {
      uint16_t hum_raw;
      if(Parse_Modbus_Response(rs485_rx_buffer, NULL, &hum_raw))
      {
        sensor_data.humidity = hum_raw / 10.0f; // Датчик возвращает значение * 10
      }
    }

    // Получение текущего времени
    RTC_TimeTypeDef sTime;
    RTC_DateTypeDef sDate;
    HAL_RTC_GetTime(&hrtc, &sTime, RTC_FORMAT_BIN);
    HAL_RTC_GetDate(&hrtc, &sDate, RTC_FORMAT_BIN);

    // Создание timestamp
    sensor_data.timestamp =
        (sDate.Year + 2000) * 100000000 +
        sDate.Month * 1000000 +
        sDate.Date * 10000 +
        sTime.Hours * 100 +
        sTime.Minutes;

    // Обновление текущих данных с защитой мьютексом
    osMutexAcquire(sensor_data_mutex, osWaitForever);
    current_sensor_data = sensor_data;
    osMutexRelease(sensor_data_mutex);

    // Отправка данных в очередь для других потоков
    osMessageQueuePut(sensor_data_queue, &sensor_data, 0, 0);

    // Сохранение в историю каждые 30 минут
    uint32_t current_time = osKernelGetTickCount();
    if((current_time - last_save_time) >= (30 * 60 * 1000)) // 30 минут в миллисекундах
    {
      Update_History(sensor_data);
      last_save_time = current_time;
    }

    // Обновление светодиодов
    Update_LEDs();

    // Чтение состояния увлажнителя
    humidifier_alarm = HAL_GPIO_ReadPin(HumAlm_In_GPIO_Port, HumAlm_In_Pin);
    humidifier_running = HAL_GPIO_ReadPin(HumRun_In_GPIO_Port, HumRun_In_Pin);
    humidifier_service = HAL_GPIO_ReadPin(HumServ_In_GPIO_Port, HumServ_In_Pin);

    osDelay(5000); // Чтение данных каждые 5 секунд
  }
}

/**
  * @brief Поток управления температурой
  */
void StartControlPIDTemp(void *argument)
{
  SensorData sensor_data;
  float pid_output;

  for(;;)
  {
    // Получение текущих данных из очереди
    if(osMessageQueueGet(sensor_data_queue, &sensor_data, NULL, 100) == osOK)
    {
      // Получение текущих настроек с защитой мьютексом
      SystemSettings settings;
      osMutexAcquire(settings_mutex, osWaitForever);
      settings = system_settings;
      osMutexRelease(settings_mutex);

      if(settings.auto_mode)
      {
        // Автоматический режим - использование ПИД регулятора
        pid_output = PID_Compute(&pid_temp, sensor_data.temperature,
                                settings.temperature_setpoint);

        // Преобразование выхода ПИД в релейное управление
        if(pid_output > 0.5f)
        {
          heating_active = 1;
          HAL_GPIO_WritePin(Heat_Out_GPIO_Port, Heat_Out_Pin, GPIO_PIN_SET);
        }
        else
        {
          heating_active = 0;
          HAL_GPIO_WritePin(Heat_Out_GPIO_Port, Heat_Out_Pin, GPIO_PIN_RESET);
        }
      }
      else
      {
        // Ручной режим
        heating_active = settings.heating_enabled;
        HAL_GPIO_WritePin(Heat_Out_GPIO_Port, Heat_Out_Pin,
                         settings.heating_enabled ? GPIO_PIN_SET : GPIO_PIN_RESET);
      }
    }

    osDelay(1000); // Управление каждую секунду
  }
}

/**
  * @brief Поток управления влажностью
  */
void StartControlPIDHum(void *argument)
{
  SensorData sensor_data;
  float pid_output;

  for(;;)
  {
    // Получение текущих данных из очереди
    if(osMessageQueueGet(sensor_data_queue, &sensor_data, NULL, 100) == osOK)
    {
      // Получение текущих настроек с защитой мьютексом
      SystemSettings settings;
      osMutexAcquire(settings_mutex, osWaitForever);
      settings = system_settings;
      osMutexRelease(settings_mutex);

      // Проверка аварии увлажнителя
      if(humidifier_alarm)
      {
        // Авария - выключаем увлажнение
        humidification_active = 0;
        HAL_GPIO_WritePin(Humidification_Out_GPIO_Port, Humidification_Out_Pin, GPIO_PIN_RESET);
        osDelay(1000);
        continue;
      }

      if(settings.auto_mode)
      {
        // Автоматический режим - использование ПИД регулятора
        pid_output = PID_Compute(&pid_hum, sensor_data.humidity,
                                settings.humidity_setpoint);

        // Преобразование выхода ПИД в релейное управление
        if(pid_output > 0.5f)
        {
          humidification_active = 1;
          HAL_GPIO_WritePin(Humidification_Out_GPIO_Port, Humidification_Out_Pin, GPIO_PIN_SET);
        }
        else
        {
          humidification_active = 0;
          HAL_GPIO_WritePin(Humidification_Out_GPIO_Port, Humidification_Out_Pin, GPIO_PIN_RESET);
        }
      }
      else
      {
        // Ручной режим
        humidification_active = settings.humidification_enabled;
        HAL_GPIO_WritePin(Humidification_Out_GPIO_Port, Humidification_Out_Pin,
                         settings.humidification_enabled ? GPIO_PIN_SET : GPIO_PIN_RESET);
      }
    }

    osDelay(1000); // Управление каждую секунду
  }
}

/**
  * @brief Поток обмена AT командами с ESP
  */
void StartExchangeATCommand(void *argument)
{
    char command[64];

    // Инициализация ESP модуля
    ESP_Init();

    for(;;)
    {
        // Проверка очереди команд от веб-интерфейса
        if(osMessageQueueGet(web_command_queue, command, NULL, 0) == osOK)
        {
            Process_Web_Command(command);
        }

        // Проверка состояния Wi-Fi
        Check_WiFi_Status();

        osDelay(1000);
    }
}

/**
  * @brief Поток веб-интерфейса
  */
void StartWebInterface(void *argument)
{
    char http_request[512];
    char http_response[2048];
    uint8_t client_id = 0;
    char *ipd_marker = "+IPD,";

    // Начальная очистка буфера
    memset(esp_rx_buffer, 0, sizeof(esp_rx_buffer));

    for(;;)
    {
        if(wifi_ap_active)
        {
            // Асинхронное чтение данных от ESP
            uint16_t bytes_available = 0;
            uint8_t tmp_buffer[256];

            // Проверяем, есть ли данные в UART
            if(HAL_UART_Receive(&huart6, tmp_buffer, sizeof(tmp_buffer), 10) == HAL_OK)
            {
                // Добавляем данные в буфер
                strncat((char*)esp_rx_buffer, (char*)tmp_buffer, sizeof(tmp_buffer));

                // Ищем маркер входящих данных "+IPD"
                char *ipd_start = strstr((char*)esp_rx_buffer, ipd_marker);
                if(ipd_start)
                {
                    // Извлекаем ID клиента и длину данных
                    // Формат: +IPD,<client_id>,<length>:<data>
                    char *comma = strchr(ipd_start, ',');
                    if(comma)
                    {
                        client_id = atoi(comma + 1);
                        char *colon = strchr(comma, ':');
                        if(colon)
                        {
                            // Копируем HTTP запрос
                            strncpy(http_request, colon + 1, sizeof(http_request) - 1);
                            http_request[sizeof(http_request) - 1] = '\0';

                            // Обработка HTTP запроса
                            if(strstr(http_request, "GET / "))
                            {
                                // Главная страница
                                Generate_HTML_Page(http_response, sizeof(http_response));
                            }
                            else if(strstr(http_request, "GET /index.html"))
                            {
                                // Главная страница
                                Generate_HTML_Page(http_response, sizeof(http_response));
                            }
                            else if(strstr(http_request, "GET /data"))
                            {
                                // JSON данные для AJAX
                                Generate_JSON_Data(http_response, sizeof(http_response));
                            }
                            else if(strstr(http_request, "GET /control"))
                            {
                                // Обработка команд управления
                                char *query = strstr(http_request, "?");
                                if(query)
                                {
                                    osMessageQueuePut(web_command_queue, query, 0, 0);
                                }
                                snprintf(http_response, sizeof(http_response),
                                         "HTTP/1.1 200 OK\r\n"
                                         "Content-Type: text/plain\r\n"
                                         "Access-Control-Allow-Origin: *\r\n"
                                         "\r\nOK");
                            }
                            else if(strstr(http_request, "GET /settings"))
                            {
                                // Обработка настроек
                                char *query = strstr(http_request, "?");
                                if(query)
                                {
                                    osMessageQueuePut(web_command_queue, query, 0, 0);
                                }
                                snprintf(http_response, sizeof(http_response),
                                         "HTTP/1.1 200 OK\r\n"
                                         "Content-Type: text/plain\r\n"
                                         "Access-Control-Allow-Origin: *\r\n"
                                         "\r\nOK");
                            }
                            else
                            {
                                // Страница не найдена
                                snprintf(http_response, sizeof(http_response),
                                         "HTTP/1.1 404 Not Found\r\n"
                                         "Content-Type: text/html\r\n"
                                         "\r\n<h1>404 Not Found</h1>");
                            }

                            // Отправка HTTP ответа
                            char send_cmd[64];
                            snprintf(send_cmd, sizeof(send_cmd),
                                     "AT+CIPSEND=%d,%d\r\n",
                                     client_id, strlen(http_response));
                            Send_AT_Command(send_cmd);

                            // Ждем приглашения ">"
                            if(Wait_AT_Response(">", 1000))
                            {
                                // Отправляем HTTP ответ
                                Send_AT_Command(http_response);

                                // Закрываем соединение
                                snprintf(send_cmd, sizeof(send_cmd),
                                         "AT+CIPCLOSE=%d\r\n", client_id);
                                Send_AT_Command(send_cmd);
                            }

                            // Очищаем буфер после обработки
                            memset(esp_rx_buffer, 0, sizeof(esp_rx_buffer));
                        }
                    }
                }

                // Очистка буфера если он переполнен
                if(strlen((char*)esp_rx_buffer) > 400)
                {
                    memset(esp_rx_buffer, 0, sizeof(esp_rx_buffer));
                }
            }
        }
        else
        {
            // Если Wi-Fi неактивен, пробуем переинициализировать каждые 30 секунд
            static uint32_t last_retry = 0;
            if(osKernelGetTickCount() - last_retry > 30000)
            {
                ESP_Init();
                last_retry = osKernelGetTickCount();
            }
        }

        osDelay(50);
    }
}

/**
  * @brief Включение передачи RS485
  */
static void RS485_EnableTX(void)
{
  HAL_GPIO_WritePin(DE_RS_Out_GPIO_Port, DE_RS_Out_Pin, GPIO_PIN_SET);
  HAL_GPIO_WritePin(RE_RS_Out_GPIO_Port, RE_RS_Out_Pin, GPIO_PIN_SET);
  osDelay(1); // Задержка для стабилизации
}

/**
  * @brief Включение приема RS485
  */
static void RS485_EnableRX(void)
{
  HAL_GPIO_WritePin(DE_RS_Out_GPIO_Port, DE_RS_Out_Pin, GPIO_PIN_RESET);
  HAL_GPIO_WritePin(RE_RS_Out_GPIO_Port, RE_RS_Out_Pin, GPIO_PIN_RESET);
  osDelay(1); // Задержка для стабилизации
}

/**
  * @brief Расчет CRC16 для Modbus
  */
static uint16_t Modbus_CRC16(uint8_t *data, uint16_t length)
{
  uint16_t crc = 0xFFFF;

  for(uint16_t i = 0; i < length; i++)
  {
    crc ^= data[i];
    for(uint8_t j = 0; j < 8; j++)
    {
      if(crc & 0x0001)
      {
        crc >>= 1;
        crc ^= MODBUS_CRC16_POLYNOMIAL;
      }
      else
      {
        crc >>= 1;
      }
    }
  }

  return crc;
}

/**
  * @brief Формирование Modbus запроса
  */
static void Send_Modbus_Request(uint8_t slave_addr, uint8_t function_code,
                               uint16_t reg_addr, uint16_t reg_count)
{
  modbus_frame[0] = slave_addr;
  modbus_frame[1] = function_code;
  modbus_frame[2] = (reg_addr >> 8) & 0xFF;
  modbus_frame[3] = reg_addr & 0xFF;
  modbus_frame[4] = (reg_count >> 8) & 0xFF;
  modbus_frame[5] = reg_count & 0xFF;

  uint16_t crc = Modbus_CRC16(modbus_frame, 6);
  modbus_frame[6] = crc & 0xFF;
  modbus_frame[7] = (crc >> 8) & 0xFF;
}

/**
  * @brief Парсинг Modbus ответа
  */
static uint8_t Parse_Modbus_Response(uint8_t *response, uint16_t *temperature, uint16_t *humidity)
{
  // Проверка CRC
  uint16_t received_crc = (response[6] << 8) | response[5];
  uint16_t calculated_crc = Modbus_CRC16(response, 5);

  if(received_crc != calculated_crc)
    return 0;

  // Проверка адреса и функции
  if(response[0] != MODBUS_ADDRESS || response[1] != MODBUS_READ_HOLDING_REG)
    return 0;

  // Проверка длины данных
  if(response[2] != 2) // 2 байта на регистр
    return 0;

  // Извлечение данных
  if(temperature)
  {
    *temperature = (response[3] << 8) | response[4];
  }

  if(humidity)
  {
    *humidity = (response[3] << 8) | response[4];
  }

  return 1;
}

/**
  * @brief Обновление истории данных
  */
static void Update_History(SensorData data)
{
  osMutexAcquire(history_mutex, osWaitForever);

  // Сдвиг истории
  for(int i = HISTORY_SIZE - 1; i > 0; i--)
  {
    history_data[i] = history_data[i-1];
  }

  // Добавление новых данных
  history_data[0] = data;

  // Обновление индекса
  history_index = (history_index + 1) % HISTORY_SIZE;

  osMutexRelease(history_mutex);
}

/**
  * @brief Обновление светодиодов
  */
static void Update_LEDs(void)
{
  // Wi-Fi светодиод
  HAL_GPIO_WritePin(Led_WifI_Out_GPIO_Port, Led_WifI_Out_Pin,
		  wifi_ap_active ? GPIO_PIN_SET : GPIO_PIN_RESET);

  // Аварийный светодиод
  uint8_t alarm = (humidifier_alarm ||
                  current_sensor_data.temperature < TEMP_MIN ||
                  current_sensor_data.temperature > TEMP_MAX ||
                  current_sensor_data.humidity < HUM_MIN ||
                  current_sensor_data.humidity > HUM_MAX);

  HAL_GPIO_WritePin(Led_Alarm_Out_GPIO_Port, Led_Alarm_Out_Pin,
                   alarm ? GPIO_PIN_SET : GPIO_PIN_RESET);

  // Светодиод нормальной работы
  HAL_GPIO_WritePin(Led_Warning_Out_GPIO_Port, Led_Warning_Out_Pin,
                   (!alarm && heating_active) ? GPIO_PIN_SET : GPIO_PIN_RESET);
}

/**
  * @brief Обработка веб-команд
  */
static void Process_Web_Command(char *command)
{
  char *token;
  char *saveptr;

  token = strtok_r(command, "?&", &saveptr);
  while(token != NULL)
  {
    if(strstr(token, "mode="))
    {
      system_settings.auto_mode = atoi(token + 5);
    }
    else if(strstr(token, "heating="))
    {
      system_settings.heating_enabled = atoi(token + 8);
    }
    else if(strstr(token, "humidification="))
    {
      system_settings.humidification_enabled = atoi(token + 15);
    }
    else if(strstr(token, "heat_setpoint="))
    {
      system_settings.temperature_setpoint = atof(token + 14);
      system_settings.temperature_setpoint =
          CLAMP(system_settings.temperature_setpoint, TEMP_MIN, TEMP_MAX);
    }
    else if(strstr(token, "hum_setpoint="))
    {
      system_settings.humidity_setpoint = atof(token + 13);
      system_settings.humidity_setpoint =
          CLAMP(system_settings.humidity_setpoint, HUM_MIN, HUM_MAX);
    }
    else if(strstr(token, "date=") && strstr(token, "time="))
    {
      // Установка времени RTC
      // Парсинг даты и времени из команды
      // Реализация зависит от формата
    }

    token = strtok_r(NULL, "?&", &saveptr);
  }
}

/**
  * @brief Отправка AT команды
  */
static void Send_AT_Command(const char *cmd)
{
  HAL_UART_Transmit(&huart6, (uint8_t*)cmd, strlen(cmd), 1000);
}

/**
  * @brief Ожидание AT ответа
  */
static uint8_t Wait_AT_Response(const char *expected, uint32_t timeout)
{
  uint32_t start_time = osKernelGetTickCount();
  uint16_t index = 0;

  while((osKernelGetTickCount() - start_time) < timeout)
  {
    if(HAL_UART_Receive(&huart6, &esp_rx_buffer[index], 1, 10) == HAL_OK)
    {
      index++;
      esp_rx_buffer[index] = '\0';

      if(strstr((char*)esp_rx_buffer, expected))
      {
        return 1;
      }

      if(index >= sizeof(esp_rx_buffer) - 1)
      {
        index = 0;
      }
    }
  }

  return 0;
}

/**
  * @brief Инициализация ESP модуля
  */
static void ESP_Init(void)
{
    uint8_t retry = 0;

    // 1. Аппаратный сброс
    HAL_GPIO_WritePin(RST_ESP_Out_GPIO_Port, RST_ESP_Out_Pin, GPIO_PIN_RESET);
    osDelay(100);
    HAL_GPIO_WritePin(RST_ESP_Out_GPIO_Port, RST_ESP_Out_Pin, GPIO_PIN_SET);
    osDelay(3000); // Увеличенная пауза для загрузки модуля

    // 2. Очистка буфера UART
    uint8_t dummy;
    while(HAL_UART_Receive(&huart6, &dummy, 1, 10) == HAL_OK);

    // 3. Проверка связи (попытки)
    for(retry = 0; retry < 5; retry++)
    {
        Send_AT_Command("AT\r\n");
        if(Wait_AT_Response("OK", 1000))
        {
            break;
        }
        osDelay(500);
    }

    if(retry >= 5)
    {
        // Ошибка связи с модулем
        wifi_ap_active = 0;
        return;
    }

    // 4. Сброс к заводским настройкам
    Send_AT_Command("AT+RESTORE\r\n");
    osDelay(2000);

    // Очистка буфера после сброса
    while(HAL_UART_Receive(&huart6, &dummy, 1, 10) == HAL_OK);

    // 5. Установка режима точки доступа (1=Station, 2=AP, 3=Both)
    Send_AT_Command("AT+CWMODE=2\r\n");
    if(!Wait_AT_Response("OK", 2000))
    {
        wifi_ap_active = 0;
        return;
    }

    // 6. Конфигурация точки доступа
    Send_AT_Command("AT+CWSAP=\"SVS_Kursov\",\"12345678\",1,3\r\n");
    if(!Wait_AT_Response("OK", 5000))
    {
        wifi_ap_active = 0;
        return;
    }

    // 7. Установка статического IP-адреса
    Send_AT_Command("AT+CIPAP=\"192.168.4.1\"\r\n");
    Wait_AT_Response("OK", 2000);

    // 8. Разрешение множественных подключений
    Send_AT_Command("AT+CIPMUX=1\r\n");
    Wait_AT_Response("OK", 2000);

    // 9. Запуск веб-сервера на порту 80
    Send_AT_Command("AT+CIPSERVER=1,80\r\n");
    if(Wait_AT_Response("OK", 2000))
    {
        wifi_ap_active = 1;

        // Дополнительные настройки
        Send_AT_Command("AT+CIPSTO=30\r\n"); // Таймаут соединения 30 секунд
        Wait_AT_Response("OK", 1000);

        // Включение автоматического принятия данных
        Send_AT_Command("AT+CIPDINFO=1\r\n");
        Wait_AT_Response("OK", 1000);

        // Получение информации о точке доступа
        Send_AT_Command("AT+CWSAP?\r\n");
        Wait_AT_Response("+CWSAP:", 2000);

        HAL_GPIO_WritePin(Led_WifI_Out_GPIO_Port, Led_WifI_Out_Pin, GPIO_PIN_SET);
    }
    else
    {
        wifi_ap_active = 0;
        HAL_GPIO_WritePin(Led_WifI_Out_GPIO_Port, Led_WifI_Out_Pin, GPIO_PIN_RESET);
    }
}

/**
  * @brief Генерация HTML страницы
  */
static void Generate_HTML_Page(char *buffer, uint32_t size)
{
  char history_html[2048] = "";
  char date_str[11] = "2026-02-27";
  char time_str[6] = "14:30";
  RTC_TimeTypeDef sTime;
  RTC_DateTypeDef sDate;

  // Получение текущего времени
  HAL_RTC_GetTime(&hrtc, &sTime, RTC_FORMAT_BIN);
  HAL_RTC_GetDate(&hrtc, &sDate, RTC_FORMAT_BIN);

  // Форматирование даты и времени
  sprintf(date_str, "%04d-%02d-%02d",
          sDate.Year + 2000, sDate.Month, sDate.Date);
  sprintf(time_str, "%02d:%02d", sTime.Hours, sTime.Minutes);

  // Генерация HTML истории
  Generate_History_HTML(history_html, sizeof(history_html));

  // Получение текущих данных и настроек
  osMutexAcquire(sensor_data_mutex, osWaitForever);
  float current_temp = current_sensor_data.temperature;
  float current_hum = current_sensor_data.humidity;
  osMutexRelease(sensor_data_mutex);

  osMutexAcquire(settings_mutex, osWaitForever);
  SystemSettings settings = system_settings;
  osMutexRelease(settings_mutex);

  // Формирование полной HTML страницы
  snprintf(buffer, size, html_page,
           current_temp, settings.temperature_setpoint,
           current_hum, settings.humidity_setpoint,
           settings.heating_enabled ? "Выключить обогрев" : "Включить обогрев",
           settings.humidification_enabled ? "Выключить увлажнение" : "Включить увлажнение",
           settings.auto_mode ? "#4fc3f7" : "#ff9800",
           settings.auto_mode ? "Автоматический" : "Ручной",
           history_html,
           settings.auto_mode ? "checked" : "",
           settings.auto_mode ? "active" : "",
           settings.temperature_setpoint, settings.temperature_setpoint,
           settings.auto_mode ? "active" : "",
           settings.humidity_setpoint, settings.humidity_setpoint,
           date_str, time_str,
		   wifi_ap_active ? "Wi-Fi подключен" : "Wi-Fi отключен",
           settings.temperature_setpoint, settings.humidity_setpoint,
           settings.heating_enabled ? "true" : "false",
           settings.humidification_enabled ? "true" : "false",
           settings.auto_mode ? "true" : "false");
}

/**
  * @brief Генерация JSON данных
  */
static void Generate_JSON_Data(char *buffer, uint32_t size)
{
  osMutexAcquire(sensor_data_mutex, osWaitForever);
  float current_temp = current_sensor_data.temperature;
  float current_hum = current_sensor_data.humidity;
  osMutexRelease(sensor_data_mutex);

  osMutexAcquire(settings_mutex, osWaitForever);
  SystemSettings settings = system_settings;
  osMutexRelease(settings_mutex);

  snprintf(buffer, size, json_data_template,
           current_temp, current_hum,
           heating_active, humidification_active,
           settings.temperature_setpoint, settings.humidity_setpoint,
           settings.auto_mode,
		   wifi_ap_active, humidifier_alarm,
           humidifier_running, humidifier_service);

  // Добавление HTTP заголовков
  char http_header[256];
  snprintf(http_header, sizeof(http_header),
           "HTTP/1.1 200 OK\r\n"
           "Content-Type: application/json\r\n"
           "Access-Control-Allow-Origin: *\r\n"
           "Content-Length: %d\r\n\r\n%s",
           strlen(buffer), buffer);

  strcpy(buffer, http_header);
}

/**
  * @brief Генерация HTML для истории
  */
static void Generate_History_HTML(char *buffer, uint32_t size)
{
  char temp[512] = "";
  osMutexAcquire(history_mutex, osWaitForever);

  for(int i = 0; i < HISTORY_SIZE; i++)
  {
    if(history_data[i].timestamp != 0)
    {
      uint32_t ts = history_data[i].timestamp;
      char row[128];

      // Форматирование даты и времени из timestamp
      snprintf(row, sizeof(row),
               "<tr><td>%04d-%02d-%02d %02d:%02d</td>"
               "<td>%.1f°C</td><td>%.1f%%</td></tr>",
               ts / 100000000, (ts % 100000000) / 1000000,
               (ts % 1000000) / 10000, (ts % 10000) / 100,
               ts % 100,
               history_data[i].temperature,
               history_data[i].humidity);

      strcat(temp, row);
    }
  }

  osMutexRelease(history_mutex);
  strncpy(buffer, temp, size);
}

/**
  * @brief Проверка состояния Wi-Fi
  */
static void Check_WiFi_Status(void)
{
    static uint32_t last_check = 0;
    uint32_t current_time = osKernelGetTickCount();

    if(current_time - last_check > 10000) // Проверка каждые 10 секунд
    {
        if(wifi_ap_active)
        {
            // Отправляем команду проверки клиентов
            Send_AT_Command("AT+CWLIF\r\n");
            Wait_AT_Response("+CWLIF:", 1000);
        }
        last_check = current_time;
    }
}

/**
  * @brief Callback обработки прерывания USART6
  */
void HAL_UART_RxCpltCallback(UART_HandleTypeDef *huart)
{
  if(huart->Instance == USART6)
  {
    // Обработка данных от ESP
    // Данные обрабатываются в потоке веб-интерфейса
  }
}

/**
  * @brief Callback обработки DMA
  */
void HAL_UART_TxCpltCallback(UART_HandleTypeDef *huart)
{
  if(huart->Instance == USART6)
  {
    // Передача данных на ESP завершена
  }
}
/* USER CODE END 4 */

void HAL_TIM_PeriodElapsedCallback(TIM_HandleTypeDef *htim)
{
  if (htim->Instance == TIM1)
  {
    HAL_IncTick();
  }
}

void Error_Handler(void)
{
  __disable_irq();
  while (1)
  {
  }
}
